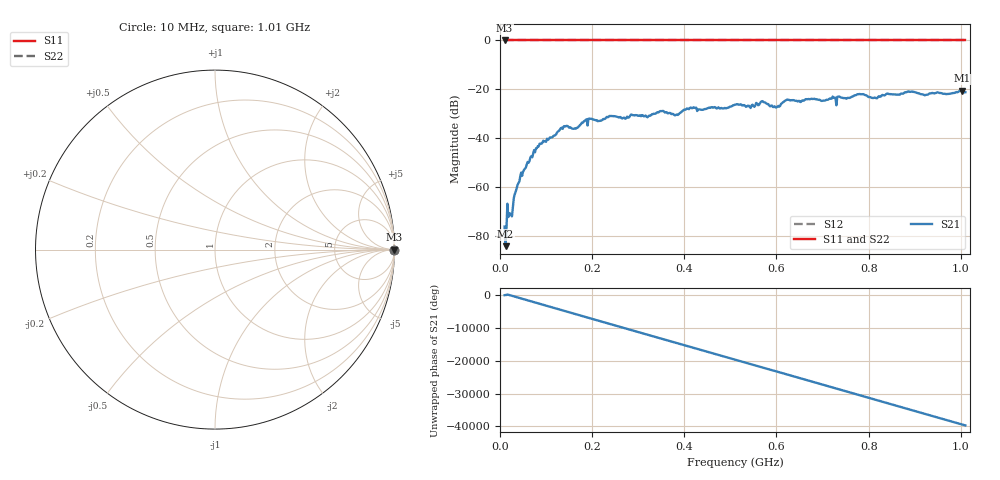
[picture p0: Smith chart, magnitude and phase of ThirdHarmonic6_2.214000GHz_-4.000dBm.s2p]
! 8/17/2025 2:22:21 AM
! C:\ANRITSUVNA\TEMP\TEMP.S2P
! CHANNEL.1
! TR.MEASUREMENT
! RAW.DATA
! RF.CORRECTION.OFF
! AVERAGING.OFF
! IF.BANDWIDTH: 5KHZ
! SWEEPTYPE:  FREQ.SWEEP(Linear)
! Reference Plane Port Info
! PORT:  PORT1  PORT2
! DISTANCE:  0  m  0  m
! TIME:  0  s  0  s
! PHASE.OFFSET:  0  deg.  0  deg.
! LOSS:  0  dB  0  dB
! REF.LOSS:  0  dB  0  dB
! REF.FREQ:  0  Hz  0  Hz
! Power Info
! POWER:  -20  dBm  -20  dBm
! EFF.POWER:  -20  dBm  -20  dBm
! SOURCE.ATTEN:  0  dB  0  dB
! TEST.ATTEN:  0  dB  0  dB
# GHZ S RI R 50.0
! FREQ.GHZ  S11RE  S11IM  S21RE  S21IM  S12RE  S12IM  S22RE  S22IM
!; PortSelection: Port_12
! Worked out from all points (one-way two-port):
!   501 points, 10 MHz to 1.01 GHz, reference 50 ohm
!   highest |S21| = -20.61 dB at 1.002 GHz (marker M1); lowest = -84.2 dB at 12 MHz (marker M2)
!   lowest |S11| = 0.0 dB at 10 MHz (marker M3)
!   |S11| at or under -10 dB: nowhere
!   |S22| runs from 0.0 to 0.0 dB; largest |S21 - S12| = 1.1
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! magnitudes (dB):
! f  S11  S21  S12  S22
! 10 MHz  0.0  -76.2  0.0  0.0
! 12 MHz  0.0  -84.2  0.0  0.0
! 20 MHz  0.0  -70.8  0.0  0.0
! 24 MHz  0.0  -71.3  0.0  0.0
! 42 MHz  0.0  -57.8  0.0  0.0
! 82 MHz  0.0  -43.3  0.0  0.0
! 136 MHz  0.0  -36.2  0.0  0.0
! 164 MHz  0.0  -36.1  0.0  0.0
! 178 MHz  0.0  -33.7  0.0  0.0
! 344 MHz  0.0  -29.5  0.0  0.0
! 382 MHz  0.0  -30.5  0.0  0.0
! 416 MHz  0.0  -27.8  0.0  0.0
! 510 MHz  0.0  -26.3  0.0  0.0
! 548 MHz  0.0  -26.3  0.0  0.0
! 570 MHz  0.0  -24.9  0.0  0.0
! 598 MHz  0.0  -27.4  0.0  0.0
! 622 MHz  0.0  -24.3  0.0  0.0
! 678 MHz  0.0  -24.0  0.0  0.0
! 814 MHz  0.0  -23.4  0.0  0.0
! 844 MHz  0.0  -21.9  0.0  0.0
! 1.002 GHz  0.0  -20.6  0.0  0.0
! 1.01 GHz  0.0  -21.2  0.0  0.0
